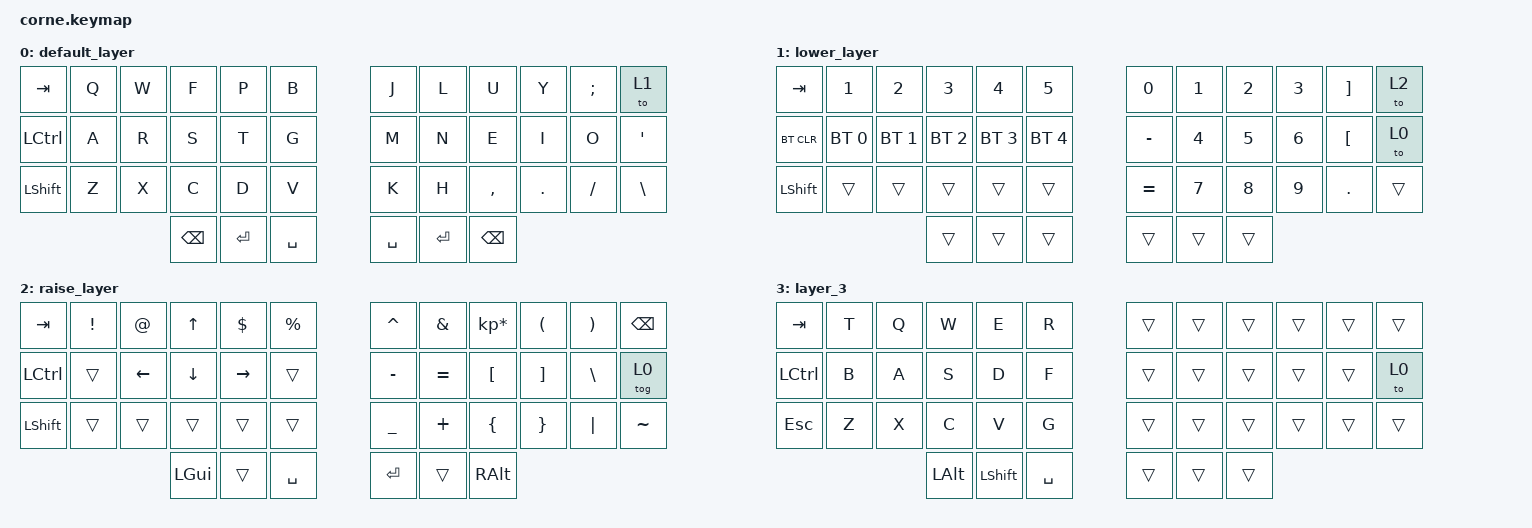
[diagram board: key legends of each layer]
/*
 * Copyright (c) 2020 The ZMK Contributors
 *
 * SPDX-License-Identifier: MIT
 */

#include <behaviors.dtsi>
#include <dt-bindings/zmk/bt.h>
#include <dt-bindings/zmk/keys.h>

/ {
    keymap {
        compatible = "zmk,keymap";

        default_layer {
            // -----------------------------------------------------------------------------------------
            // |  TAB |  Q  |  W  |  E  |  R  |  T  |   |  Y  |  U   |  I  |  O  |  P  | BKSP |
            // | CTRL |  A  |  S  |  D  |  F  |  G  |   |  H  |  J   |  K  |  L  |  ;  |  '   |
            // | SHFT |  Z  |  X  |  C  |  V  |  B  |   |  N  |  M   |  ,  |  .  |  /  | ESC  |
            //                    | GUI | LWR | SPC |   | ENT | RSE  | ALT |

            bindings = <
&kp TAB    &kp Q  &kp W  &kp F          &kp P      &kp B        &kp J      &kp L      &kp U          &kp Y    &kp SEMICOLON  &to 1
&kp LCTRL  &kp A  &kp R  &kp S          &kp T      &kp G        &kp M      &kp N      &kp E          &kp I    &kp O          &kp SQT
&kp LSHFT  &kp Z  &kp X  &kp C          &kp D      &kp V        &kp K      &kp H      &kp COMMA      &kp DOT  &kp SLASH      &kp BACKSLASH
                         &kp BACKSPACE  &kp ENTER  &kp SPACE    &kp SPACE  &kp ENTER  &kp BACKSPACE
            >;
        };

        lower_layer {
            // -----------------------------------------------------------------------------------------
            // |  TAB |  1  |  2  |  3  |  4  |  5  |   |  6  |  7  |  8  |  9  |  0  | BKSP |
            // | BTCLR| BT1 | BT2 | BT3 | BT4 | BT5 |   | LFT | DWN |  UP | RGT |     |      |
            // | SHFT |     |     |     |     |     |   |     |     |     |     |     |      |
            //                    | GUI |     | SPC |   | ENT |     | ALT |

            bindings = <
&kp TAB     &kp N1        &kp N2        &kp N3        &kp N4        &kp N5          &kp NUMBER_0  &kp NUMBER_1  &kp NUMBER_2  &kp NUMBER_3  &kp RIGHT_BRACKET  &to 2
&bt BT_CLR  &bt BT_SEL 0  &bt BT_SEL 1  &bt BT_SEL 2  &bt BT_SEL 3  &bt BT_SEL 4    &kp MINUS     &kp NUMBER_4  &kp NUMBER_5  &kp NUMBER_6  &kp LEFT_BRACKET   &to 0
&kp LSHFT   &trans        &trans        &trans        &trans        &trans          &kp EQUAL     &kp NUMBER_7  &kp NUMBER_8  &kp NUMBER_9  &kp PERIOD         &trans
                                        &trans        &trans        &trans          &trans        &trans        &trans
            >;
        };

        raise_layer {
            // -----------------------------------------------------------------------------------------
            // |  TAB |  !  |  @  |  #  |  $  |  %  |   |  ^  |  &  |  *  |  (  |  )  | BKSP |
            // | CTRL |     |     |     |     |     |   |  -  |  =  |  [  |  ]  |  \  |  `   |
            // | SHFT |     |     |     |     |     |   |  _  |  +  |  {  |  }  | "|" |  ~   |
            //                    | GUI |     | SPC |   | ENT |     | ALT |

            bindings = <
&kp TAB    &kp EXCL  &kp AT          &kp UP_ARROW    &kp DLLR         &kp PRCNT    &kp CARET  &kp AMPS   &kp KP_MULTIPLY  &kp LPAR  &kp RPAR  &kp BSPC
&kp LCTRL  &trans    &kp LEFT_ARROW  &kp DOWN_ARROW  &kp RIGHT_ARROW  &trans       &kp MINUS  &kp EQUAL  &kp LBKT         &kp RBKT  &kp BSLH  &tog 0
&kp LSHFT  &trans    &trans          &trans          &trans           &trans       &kp UNDER  &kp PLUS   &kp LBRC         &kp RBRC  &kp PIPE  &kp TILDE
                                     &kp LGUI        &trans           &kp SPACE    &kp RET    &trans     &kp RALT
            >;
        };

        layer_3 {
            bindings = <
&kp TAB           &kp T  &kp Q  &kp W         &kp E           &kp R        &trans  &trans  &trans  &trans  &trans  &trans
&kp LEFT_CONTROL  &kp B  &kp A  &kp S         &kp D           &kp F        &trans  &trans  &trans  &trans  &trans  &to 0
&kp ESCAPE        &kp Z  &kp X  &kp C         &kp V           &kp G        &trans  &trans  &trans  &trans  &trans  &trans
                                &kp LEFT_ALT  &kp LEFT_SHIFT  &kp SPACE    &trans  &trans  &trans
            >;
        };
    };
};
